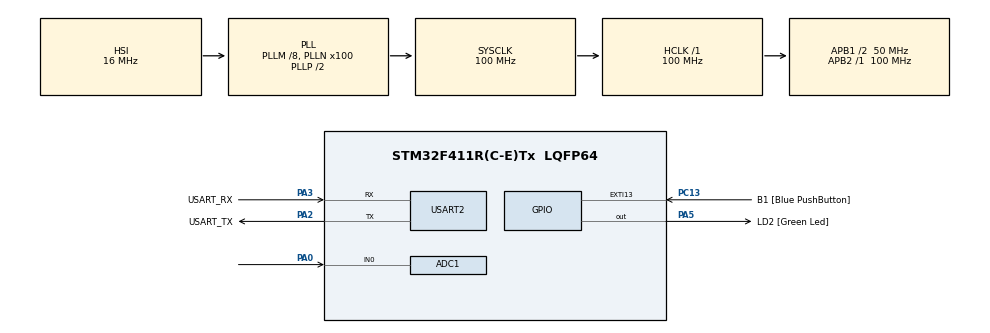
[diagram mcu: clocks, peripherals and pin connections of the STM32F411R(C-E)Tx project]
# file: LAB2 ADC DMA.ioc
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ADC1.Channel-0\#ChannelRegularConversion=ADC_CHANNEL_TEMPSENSOR
ADC1.Channel-1\#ChannelRegularConversion=ADC_CHANNEL_0
ADC1.ContinuousConvMode=ENABLE
ADC1.DMAContinuousRequests=ENABLE
ADC1.NbrOfConversion=2
ADC1.NbrOfConversionFlag=1
ADC1.Rank-0\#ChannelRegularConversion=1
ADC1.Rank-1\#ChannelRegularConversion=2
ADC1.SamplingTime-0\#ChannelRegularConversion=ADC_SAMPLETIME_480CYCLES
ADC1.SamplingTime-1\#ChannelRegularConversion=ADC_SAMPLETIME_480CYCLES
ADC1.ScanConvMode=ENABLE
ADC1.master=1
Dma.ADC1.0.Direction=DMA_PERIPH_TO_MEMORY
Dma.ADC1.0.FIFOMode=DMA_FIFOMODE_DISABLE
Dma.ADC1.0.Instance=DMA2_Stream0
Dma.ADC1.0.MemDataAlignment=DMA_MDATAALIGN_HALFWORD
Dma.ADC1.0.MemInc=DMA_MINC_ENABLE
Dma.ADC1.0.Mode=DMA_CIRCULAR
Dma.ADC1.0.PeriphDataAlignment=DMA_PDATAALIGN_HALFWORD
Dma.ADC1.0.PeriphInc=DMA_PINC_DISABLE
Dma.ADC1.0.Priority=DMA_PRIORITY_LOW
Dma.Request0=ADC1
Mcu.Family=STM32F4
Mcu.Name=STM32F411R(C-E)Tx
Mcu.Package=LQFP64
NVIC.DMA2_Stream0_IRQn=true\:0\:0\:false\:false\:true\:false\:true\:true
NVIC.EXTI15_10_IRQn=true\:0\:0\:false\:false\:true\:true\:true\:true
NVIC.PriorityGroup=NVIC_PRIORITYGROUP_0
PA0-WKUP.Signal=ADCx_IN0
PA13.GPIO_Label=TMS
PA13.Mode=Serial_Wire
PA13.Signal=SYS_JTMS-SWDIO
PA14.GPIO_Label=TCK
PA14.Mode=Serial_Wire
PA14.Signal=SYS_JTCK-SWCLK
PA2.GPIO_Label=USART_TX
PA2.Mode=Asynchronous
PA2.Signal=USART2_TX
PA3.GPIO_Label=USART_RX
PA3.Mode=Asynchronous
PA3.Signal=USART2_RX
PA5.GPIO_Label=LD2 [Green Led]
PA5.Signal=GPIO_Output
PB3.GPIO_Label=SWO
PB3.Signal=SYS_JTDO-SWO
PC13-ANTI_TAMP.GPIO_Label=B1 [Blue PushButton]
PC13-ANTI_TAMP.GPIO_ModeDefaultEXTI=GPIO_MODE_IT_FALLING
PC13-ANTI_TAMP.Signal=GPXTI13
PC14-OSC32_IN.Mode=LSE-External-Oscillator
PC14-OSC32_IN.Signal=RCC_OSC32_IN
PC15-OSC32_OUT.Mode=LSE-External-Oscillator
PC15-OSC32_OUT.Signal=RCC_OSC32_OUT
PH0\ -\ OSC_IN.Mode=HSE-External-Clock-Source
PH0\ -\ OSC_IN.Signal=RCC_OSC_IN
PH1\ -\ OSC_OUT.Mode=HSE-External-Clock-Source
PH1\ -\ OSC_OUT.Signal=RCC_OSC_OUT
ProjectManager.HeapSize=0x200
ProjectManager.StackSize=0x400
ProjectManager.TargetToolchain=STM32CubeIDE
RCC.48MHZClocksFreq_Value=50000000
RCC.AHBFreq_Value=100000000
RCC.APB1CLKDivider=RCC_HCLK_DIV2
RCC.APB1Freq_Value=50000000
RCC.APB1TimFreq_Value=100000000
RCC.APB2Freq_Value=100000000
RCC.APB2TimFreq_Value=100000000
RCC.CortexFreq_Value=100000000
RCC.FLatency-AdvancedSettings=FLASH_LATENCY_3
RCC.HCLKFreq_Value=100000000
RCC.HSE_VALUE=8000000
RCC.HSI_VALUE=16000000
RCC.PLLM=8
RCC.PLLN=100
RCC.SYSCLKFreq_VALUE=100000000
RCC.SYSCLKSource=RCC_SYSCLKSOURCE_PLLCLK
RCC.VCOOutputFreq_Value=200000000
SH.ADCx_IN0.0=ADC1_IN0,IN0
USART2.VirtualMode=VM_ASYNC
VP_ADC1_TempSens_Input.Mode=IN-TempSens
board=NUCLEO-F411RE

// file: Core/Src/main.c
/* USER CODE BEGIN Header */
/**
 ******************************************************************************
 * @file           : main.c
 * @brief          : Main program body
 ******************************************************************************
 * @attention
 *
 * Copyright (c) 2023 STMicroelectronics.
 * All rights reserved.
 *
 * This software is licensed under terms that can be found in the LICENSE file
 * in the root directory of this software component.
 * If no LICENSE file comes with this software, it is provided AS-IS.
 *
 ******************************************************************************
 */
/* USER CODE END Header */
#include "main.h"

ADC_HandleTypeDef hadc1;
DMA_HandleTypeDef hdma_adc1;

UART_HandleTypeDef huart2;

/* USER CODE BEGIN PV */

uint16_t adcRawData[20];
float TEMP = 0;
float VOLTAGE = 0;

/* USER CODE END PV */

void SystemClock_Config(void);
static void MX_GPIO_Init(void);
static void MX_DMA_Init(void);
static void MX_USART2_UART_Init(void);
static void MX_ADC1_Init(void);
/* USER CODE BEGIN PFP */

void intPrintln(int value);

/* USER CODE END PFP */

int main(void) {

	/* MCU Configuration--------------------------------------------------------*/

	/* Reset of all peripherals, Initializes the Flash interface and the Systick. */
	HAL_Init();

	/* Configure the system clock */
	SystemClock_Config();

	/* Initialize all configured peripherals */
	MX_GPIO_Init();
	MX_DMA_Init();
	MX_USART2_UART_Init();
	MX_ADC1_Init();

	/* USER CODE BEGIN 2 */

	HAL_ADC_Start_DMA(&hadc1, adcRawData, 20);

	/* USER CODE END 2 */

	/* Infinite loop */
	/* USER CODE BEGIN WHILE */
	while (1) {
		static uint32_t timestamp = 0;
		if (HAL_GetTick() >= timestamp) {
			timestamp = HAL_GetTick() + 1000;

			// reset data
			TEMP = 0;
			VOLTAGE = 0;

			// average data
			register int C;
			for (C = 0; C < 20; C += 2) {
				TEMP += adcRawData[C];
				VOLTAGE += adcRawData[C + 1];
			}

			TEMP /= 10.0;
			VOLTAGE /= 10.0;

			// convert data
			TEMP = 273 + 25.0 + ((TEMP * 3.3 / 4095.0) - 0.76) / 0.0025;
			VOLTAGE = (VOLTAGE / (4095.0 * (2.5 / 3.3))) * 5000.0;

			// debug print
			intPrintln(TEMP);
			intPrintln(VOLTAGE);

		}
		/* USER CODE END WHILE */

	}
}

void SystemClock_Config(void) {
	RCC_OscInitTypeDef RCC_OscInitStruct = { 0 };
	RCC_ClkInitTypeDef RCC_ClkInitStruct = { 0 };

	/** Configure the main internal regulator output voltage
	 */
	__HAL_RCC_PWR_CLK_ENABLE();
	__HAL_PWR_VOLTAGESCALING_CONFIG(PWR_REGULATOR_VOLTAGE_SCALE1);

	/** Initializes the RCC Oscillators according to the specified parameters
	 * in the RCC_OscInitTypeDef structure.
	 */
	RCC_OscInitStruct.OscillatorType = RCC_OSCILLATORTYPE_HSI;
	RCC_OscInitStruct.HSIState = RCC_HSI_ON;
	RCC_OscInitStruct.HSICalibrationValue = RCC_HSICALIBRATION_DEFAULT;
	RCC_OscInitStruct.PLL.PLLState = RCC_PLL_ON;
	RCC_OscInitStruct.PLL.PLLSource = RCC_PLLSOURCE_HSI;
	RCC_OscInitStruct.PLL.PLLM = 8;
	RCC_OscInitStruct.PLL.PLLN = 100;
	RCC_OscInitStruct.PLL.PLLP = RCC_PLLP_DIV2;
	RCC_OscInitStruct.PLL.PLLQ = 4;
	if (HAL_RCC_OscConfig(&RCC_OscInitStruct) != HAL_OK) {
		Error_Handler();
	}

	/** Initializes the CPU, AHB and APB buses clocks
	 */
	RCC_ClkInitStruct.ClockType = RCC_CLOCKTYPE_HCLK | RCC_CLOCKTYPE_SYSCLK
			| RCC_CLOCKTYPE_PCLK1 | RCC_CLOCKTYPE_PCLK2;
	RCC_ClkInitStruct.SYSCLKSource = RCC_SYSCLKSOURCE_PLLCLK;
	RCC_ClkInitStruct.AHBCLKDivider = RCC_SYSCLK_DIV1;
	RCC_ClkInitStruct.APB1CLKDivider = RCC_HCLK_DIV2;
	RCC_ClkInitStruct.APB2CLKDivider = RCC_HCLK_DIV1;

	if (HAL_RCC_ClockConfig(&RCC_ClkInitStruct, FLASH_LATENCY_3) != HAL_OK) {
		Error_Handler();
	}
}

static void MX_ADC1_Init(void) {

	ADC_ChannelConfTypeDef sConfig = { 0 };

	/** Configure the global features of the ADC (Clock, Resolution, Data Alignment and number of conversion)
	 */
	hadc1.Instance = ADC1;
	hadc1.Init.ClockPrescaler = ADC_CLOCK_SYNC_PCLK_DIV4;
	hadc1.Init.Resolution = ADC_RESOLUTION_12B;
	hadc1.Init.ScanConvMode = ENABLE;
	hadc1.Init.ContinuousConvMode = ENABLE;
	hadc1.Init.DiscontinuousConvMode = DISABLE;
	hadc1.Init.ExternalTrigConvEdge = ADC_EXTERNALTRIGCONVEDGE_NONE;
	hadc1.Init.ExternalTrigConv = ADC_SOFTWARE_START;
	hadc1.Init.DataAlign = ADC_DATAALIGN_RIGHT;
	hadc1.Init.NbrOfConversion = 2;
	hadc1.Init.DMAContinuousRequests = ENABLE;
	hadc1.Init.EOCSelection = ADC_EOC_SINGLE_CONV;
	if (HAL_ADC_Init(&hadc1) != HAL_OK) {
		Error_Handler();
	}

	/** Configure for the selected ADC regular channel its corresponding rank in the sequencer and its sample time.
	 */
	sConfig.Channel = ADC_CHANNEL_TEMPSENSOR;
	sConfig.Rank = 1;
	sConfig.SamplingTime = ADC_SAMPLETIME_480CYCLES;
	if (HAL_ADC_ConfigChannel(&hadc1, &sConfig) != HAL_OK) {
		Error_Handler();
	}

	/** Configure for the selected ADC regular channel its corresponding rank in the sequencer and its sample time.
	 */
	sConfig.Channel = ADC_CHANNEL_0;
	sConfig.Rank = 2;
	if (HAL_ADC_ConfigChannel(&hadc1, &sConfig) != HAL_OK) {
		Error_Handler();
	}

}

static void MX_USART2_UART_Init(void) {

	huart2.Instance = USART2;
	huart2.Init.BaudRate = 115200;
	huart2.Init.WordLength = UART_WORDLENGTH_8B;
	huart2.Init.StopBits = UART_STOPBITS_1;
	huart2.Init.Parity = UART_PARITY_NONE;
	huart2.Init.Mode = UART_MODE_TX_RX;
	huart2.Init.HwFlowCtl = UART_HWCONTROL_NONE;
	huart2.Init.OverSampling = UART_OVERSAMPLING_16;
	if (HAL_UART_Init(&huart2) != HAL_OK) {
		Error_Handler();
	}

}

static void MX_DMA_Init(void) {

	/* DMA controller clock enable */
	__HAL_RCC_DMA2_CLK_ENABLE();

	/* DMA interrupt init */
	/* DMA2_Stream0_IRQn interrupt configuration */
	HAL_NVIC_SetPriority(DMA2_Stream0_IRQn, 0, 0);
	HAL_NVIC_EnableIRQ(DMA2_Stream0_IRQn);

}

static void MX_GPIO_Init(void) {
	GPIO_InitTypeDef GPIO_InitStruct = { 0 };

	/* GPIO Ports Clock Enable */
	__HAL_RCC_GPIOC_CLK_ENABLE();
	__HAL_RCC_GPIOH_CLK_ENABLE();
	__HAL_RCC_GPIOA_CLK_ENABLE();
	__HAL_RCC_GPIOB_CLK_ENABLE();

	/*Configure GPIO pin Output Level */
	HAL_GPIO_WritePin(LD2_GPIO_Port, LD2_Pin, GPIO_PIN_RESET);

	/*Configure GPIO pin : B1_Pin */
	GPIO_InitStruct.Pin = B1_Pin;
	GPIO_InitStruct.Mode = GPIO_MODE_IT_FALLING;
	GPIO_InitStruct.Pull = GPIO_NOPULL;
	HAL_GPIO_Init(B1_GPIO_Port, &GPIO_InitStruct);

	/*Configure GPIO pin : LD2_Pin */
	GPIO_InitStruct.Pin = LD2_Pin;
	GPIO_InitStruct.Mode = GPIO_MODE_OUTPUT_PP;
	GPIO_InitStruct.Pull = GPIO_NOPULL;
	GPIO_InitStruct.Speed = GPIO_SPEED_FREQ_LOW;
	HAL_GPIO_Init(LD2_GPIO_Port, &GPIO_InitStruct);

	/* EXTI interrupt init*/
	HAL_NVIC_SetPriority(EXTI15_10_IRQn, 0, 0);
	HAL_NVIC_EnableIRQ(EXTI15_10_IRQn);

}

/* USER CODE BEGIN 4 */

void intPrintln(int value) {
	char Tx[10];
	sprintf(Tx, "%d\r\n", value);
	HAL_UART_Transmit(&huart2, Tx, strlen(Tx), HAL_MAX_DELAY);
}

/* USER CODE END 4 */

void Error_Handler(void) {
	__disable_irq();
	while (1) {
	}
}
